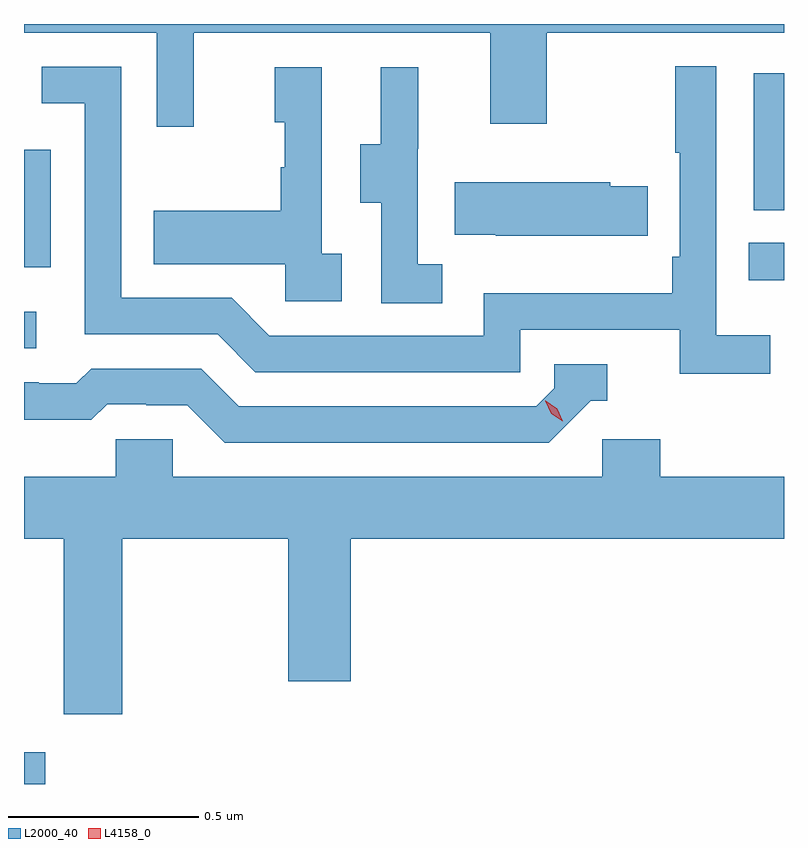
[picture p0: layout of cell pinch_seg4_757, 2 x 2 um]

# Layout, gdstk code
import gdstk
lib = gdstk.Library(unit=1e-6, precision=1e-09)
def R(c, l, rs):  # rectangles x0, y0, x1, y1
    for r in rs: c.add(gdstk.rectangle(r[:2], r[2:], *l))
def P(c, l, *ps):  # polygons
    for p in ps: c.add(gdstk.Polygon(p, *l))
L2000_40 = (2000, 40)
L4158_0 = (4158, 0)

pinch_seg4_757 = lib.new_cell('pinch_seg4_757')
R(pinch_seg4_757, L2000_40, [(871.604,822.815,871.66,822.898), (871.604,823.962,871.636,824.058), (873.511,824.141,873.604,824.24), (871.604,824.175,871.674,824.484), (873.524,824.325,873.604,824.686)])
P(pinch_seg4_757, L2000_40, [(872.051,824.792),(872.831,824.792),(872.831,824.553),(872.979,824.553),(872.979,824.792),(873.604,824.792),(873.604,824.815),(871.604,824.815),(871.604,824.792),(871.953,824.792),(871.953,824.544),(872.051,824.544)],
  [(873.568,823.996),(873.426,823.996),(873.426,824.704),(873.318,824.704),(873.318,824.476),(873.33,824.476),(873.33,824.203),(873.31,824.203),(873.31,824.107),(872.814,824.107),(872.814,823.995),(872.25,823.995),(872.151,824.094),(871.86,824.094),(871.86,824.703),(871.651,824.703),(871.651,824.607),(871.764,824.607),(871.764,823.998),(872.114,823.998),(872.213,823.899),(872.91,823.899),(872.91,824.01),(873.329,824.01),(873.329,823.894),(873.568,823.894)],
  [(872.704,824.183),(872.64,824.183),(872.64,824.487),(872.642,824.487),(872.642,824.701),(872.543,824.701),(872.543,824.499),(872.489,824.499),(872.489,824.344),(872.544,824.344),(872.544,824.08),(872.704,824.08)],
  [(872.44,824.21),(872.388,824.21),(872.388,824.701),(872.264,824.701),(872.264,824.556),(872.29,824.556),(872.29,824.438),(872.28,824.438),(872.28,824.323),(871.945,824.323),(871.945,824.183),(872.292,824.183),(872.292,824.085),(872.44,824.085)],
  [(873.245,824.388),(873.147,824.388),(873.147,824.398),(872.737,824.398),(872.737,824.261),(872.845,824.261),(872.845,824.258),(873.245,824.258)],
  [(873.096,823.824),(873.139,823.824),(873.139,823.92),(873,823.92),(873,823.857),(872.952,823.809),(872.169,823.809),(872.07,823.908),(871.781,823.908),(871.742,823.869),(871.643,823.869),(871.643,823.872),(871.604,823.872),(871.604,823.773),(871.781,823.773),(871.823,823.815),(871.926,823.815),(871.926,823.812),(872.033,823.812),(872.132,823.713),(872.985,823.713)],
  [(871.995,823.722),(871.845,823.722),(871.845,823.624),(871.604,823.624),(871.604,823.46),(871.708,823.46),(871.708,822.999),(871.863,822.999),(871.863,823.46),(872.3,823.46),(872.3,823.086),(872.464,823.086),(872.464,823.46),(873.604,823.46),(873.604,823.624),(873.278,823.624),(873.278,823.722),(873.126,823.722),(873.126,823.624),(871.995,823.624)])
P(pinch_seg4_757, L4158_0, [(873.022,823.77),(872.992,823.79),(872.976,823.823),(872.976,823.824),(872.977,823.824),(873.007,823.803),(873.022,823.77),(873.022,823.77)])

lib.write_gds('pinch_seg4_757.gds')
